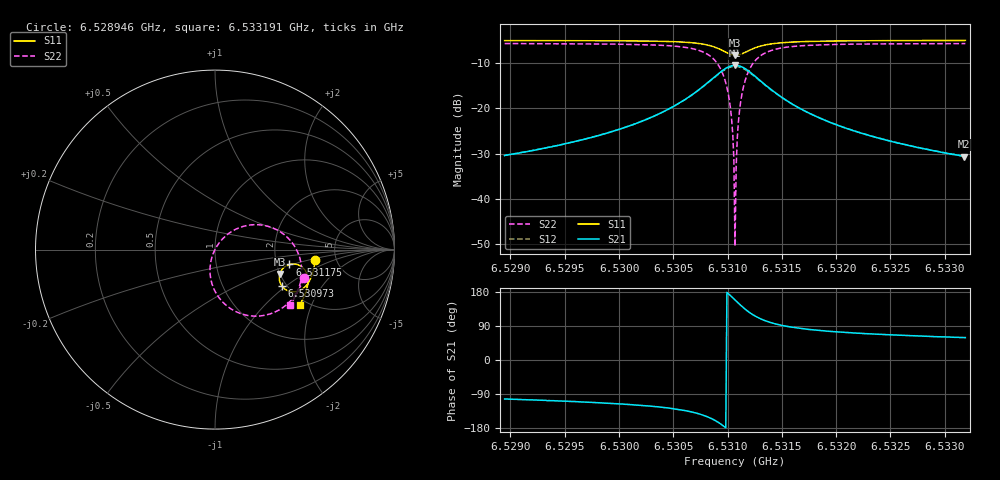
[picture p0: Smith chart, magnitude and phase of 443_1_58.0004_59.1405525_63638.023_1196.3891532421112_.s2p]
#  HZ  S  RI  R  50.00
! Rohde & Schwarz Vector Network Analyzer
! Rohde-Schwarz,ZNB20-2Port,1311601062101988,3.16
! Created: UTC 3/21/2024, 1:10:08 AM
! freq[Hz]  re:S11  im:S11  re:S21  im:S21  re:S12  im:S12  re:S22  im:S22
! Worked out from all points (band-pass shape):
!   401 points, 6.528946 GHz to 6.533191 GHz, reference 50 ohm
!   highest |S21| = -10.46 dB at 6.531068 GHz (marker M1); lowest = -30.6 dB at 6.53318 GHz (marker M2)
!   |S21| within 3 dB of the highest: 6.530858 GHz to 6.531282 GHz (423.3 kHz wide, 0.00648 % of centre)
!   lowest |S11| = -8.3 dB at 6.531068 GHz (marker M3), VSWR 2.25, Z = 99.8 - j31.7 ohm
!   |S11| at or under -10 dB: nowhere
!   |S22| runs from -50.4 to -5.7 dB; largest |S21 - S12| = 0.011
!   S11 on the Smith chart (normalised r, x): 6.528946 GHz: 3.45, -0.57; 6.530973 GHz: 1.89, -0.93; 6.531175 GHz: 2.35, -0.47; 6.533191 GHz: 1.82, -1.65
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6.528946e9  0.5582 -0.0568  -0.00672 -0.0295  -0.00734 -0.0295  0.4953 -0.1595
6.529657e9  0.5481 -0.1154  -0.0159 -0.0421  -0.0169 -0.0419  0.4654 -0.2251
6.530368e9  0.52 -0.1849  -0.0487 -0.0724  -0.0507 -0.0712  0.386 -0.3169
6.5307925e9  0.4507 -0.2344  -0.1537 -0.0981  -0.156 -0.0921  0.1839 -0.367
6.5308986e9  0.407 -0.2295  -0.2216 -0.0728  -0.2212 -0.0639  0.0677 -0.315
6.5309729e9  0.3729 -0.2029  -0.2721 -0.016  -0.2668 -0.00657  -0.00957 -0.2112
6.5310048e9  0.3625 -0.1833  -0.2857 0.0216  -0.278 0.0299  -0.0262 -0.1463
6.531026e9  0.3586 -0.168  -0.2892 0.0502  -0.2803 0.0571  -0.0275 -0.0984
6.5310366e9  0.3579 -0.1599  -0.2888 0.0651  -0.2794 0.0711  -0.0246 -0.0741
6.5310472e9  0.358 -0.1517  -0.287 0.08  -0.2772 0.0854  -0.0193 -0.0496
6.5310578e9  0.3591 -0.1433  -0.2839 0.0948  -0.2736 0.0993  -0.0117 -0.0257
6.5310684e9  0.361 -0.1353  -0.2791 0.1095  -0.2687 0.1128  -0.00154 -0.00261
6.5310897e9  0.3676 -0.1199  -0.2653 0.1367  -0.2552 0.1384  0.0253 0.0402
6.5311003e9  0.372 -0.1128  -0.2566 0.1493  -0.2466 0.1499  0.0417 0.0592
6.5311215e9  0.3826 -0.1007  -0.2363 0.1706  -0.227 0.1698  0.0785 0.0914
6.5311746e9  0.415 -0.0828  -0.1771 0.2025  -0.1708 0.1995  0.1813 0.1349
6.5312488e9  0.4571 -0.0832  -0.1033 0.2048  -0.1001 0.2018  0.3058 0.1264
6.531355e9  0.4934 -0.1054  -0.0396 0.1746  -0.0381 0.173  0.4101 0.0613
6.5317795e9  0.5183 -0.1848  0.0152 0.0844  0.0162 0.0841  0.4829 -0.1281
6.5324905e9  0.4985 -0.2565  0.0174 0.0402  0.0181 0.0402  0.4551 -0.2447
6.5331803e9  0.4716 -0.3075  0.0152 0.0253  0.0159 0.0252  0.4209 -0.3053
6.5331909e9  0.4712 -0.3083  0.0152 0.0253  0.0158 0.025  0.4202 -0.306
